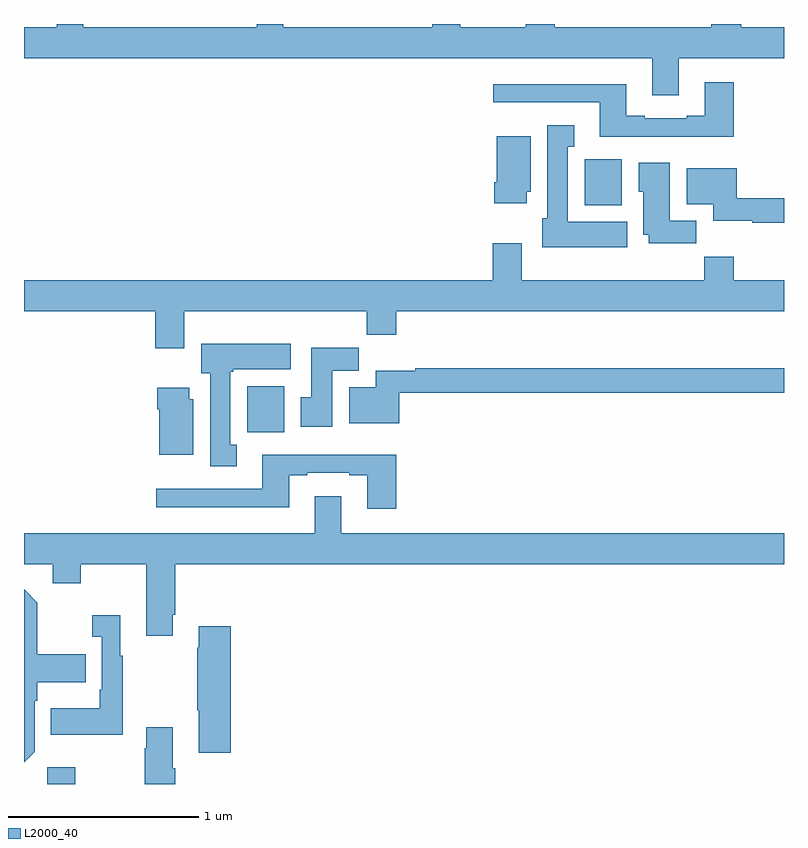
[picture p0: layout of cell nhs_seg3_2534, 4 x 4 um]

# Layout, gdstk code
import gdstk
lib = gdstk.Library(unit=1e-6, precision=1e-09)
def R(c, l, rs):  # rectangles x0, y0, x1, y1
    for r in rs: c.add(gdstk.rectangle(r[:2], r[2:], *l))
def P(c, l, *ps):  # polygons
    for p in ps: c.add(gdstk.Polygon(p, *l))
L2000_40 = (2000, 40)

nhs_seg3_2534 = lib.new_cell('nhs_seg3_2534')
R(nhs_seg3_2534, L2000_40, [(241.122,726.4,241.269,726.487), (242.174,728.252,242.371,728.494), (243.95,729.446,244.147,729.688)])
P(nhs_seg3_2534, L2000_40, [(244.447,730.22),(245,730.22),(245,730.384),(244.776,730.384),(244.776,730.4),(244.616,730.4),(244.616,730.384),(243.794,730.384),(243.794,730.4),(243.641,730.4),(243.641,730.384),(243.297,730.384),(243.297,730.4),(243.149,730.4),(243.149,730.384),(242.365,730.384),(242.365,730.4),(242.225,730.4),(242.225,730.384),(241.311,730.384),(241.311,730.4),(241.173,730.4),(241.173,730.384),(241,730.384),(241,730.22),(244.307,730.22),(244.307,730.026),(244.447,730.026)],
  [(244.736,730.093),(244.583,730.093),(244.583,729.916),(244.487,729.916),(244.487,729.903),(244.267,729.903),(244.267,729.916),(244.171,729.916),(244.171,730.084),(243.471,730.084),(243.471,729.987),(244.031,729.987),(244.031,729.806),(244.736,729.806)],
  [(244.174,729.358),(243.862,729.358),(243.862,729.755),(243.895,729.755),(243.895,729.868),(243.755,729.868),(243.755,729.378),(243.728,729.378),(243.728,729.224),(244.174,729.224)],
  [(243.646,729.516),(243.667,729.516),(243.667,729.808),(243.488,729.808),(243.488,729.568),(243.476,729.568),(243.476,729.456),(243.646,729.456)],
  [(244.538,729.364),(244.399,729.364),(244.399,729.67),(244.235,729.67),(244.235,729.516),(244.259,729.516),(244.259,729.29),(244.289,729.29),(244.289,729.246),(244.538,729.246)],
  [(245,729.482),(244.751,729.482),(244.751,729.64),(244.487,729.64),(244.487,729.452),(244.628,729.452),(244.628,729.365),(244.834,729.365),(244.834,729.354),(245,729.354)],
  [(241.843,728.888),(242.803,728.888),(242.803,728.764),(242.96,728.764),(242.96,728.888),(245,728.888),(245,729.052),(244.736,729.052),(244.736,729.176),(244.579,729.176),(244.579,729.052),(243.619,729.052),(243.619,729.247),(243.467,729.247),(243.467,729.052),(241,729.052),(241,728.888),(241.691,728.888),(241.691,728.694),(241.843,728.694)],
  [(242.119,728.186),(242.086,728.186),(242.086,728.569),(242.1,728.569),(242.1,728.582),(242.404,728.582),(242.404,728.716),(241.934,728.716),(241.934,728.562),(241.979,728.562),(241.979,728.073),(242.119,728.073)],
  [(242.623,728.576),(242.762,728.576),(242.762,728.695),(242.513,728.695),(242.513,728.436),(242.456,728.436),(242.456,728.28),(242.623,728.28)],
  [(242.975,728.458),(245,728.458),(245,728.587),(243.058,728.587),(243.058,728.576),(242.852,728.576),(242.852,728.488),(242.711,728.488),(242.711,728.3),(242.975,728.3)],
  [(241.891,728.424),(241.87,728.424),(241.87,728.485),(241.7,728.485),(241.7,728.372),(241.712,728.372),(241.712,728.132),(241.891,728.132)],
  [(242.96,728.134),(242.255,728.134),(242.255,727.953),(241.695,727.953),(241.695,727.856),(242.395,727.856),(242.395,728.025),(242.491,728.025),(242.491,728.037),(242.711,728.037),(242.711,728.025),(242.807,728.025),(242.807,727.848),(242.96,727.848)],
  [(241.783,727.291),(241.796,727.291),(241.796,727.556),(245,727.556),(245,727.72),(242.671,727.72),(242.671,727.915),(242.531,727.915),(242.531,727.72),(241,727.72),(241,727.556),(241.151,727.556),(241.151,727.457),(241.299,727.457),(241.299,727.556),(241.643,727.556),(241.643,727.179),(241.783,727.179)],
  [(241.056,726.57),(241.056,726.839),(241.069,726.839),(241.069,726.935),(241.325,726.935),(241.325,727.083),(241.069,727.083),(241.069,727.355),(241,727.424),(241,726.514)],
  [(241.519,727.075),(241.507,727.075),(241.507,727.288),(241.359,727.288),(241.359,727.175),(241.41,727.175),(241.41,726.895),(241.398,726.895),(241.398,726.799),(241.141,726.799),(241.141,726.659),(241.519,726.659)],
  [(242.087,727.231),(241.919,727.231),(241.919,727.118),(241.912,727.118),(241.912,726.787),(241.919,726.787),(241.919,726.564),(242.087,726.564)],
  [(241.796,726.484),(241.783,726.484),(241.783,726.7),(241.643,726.7),(241.643,726.587),(241.636,726.587),(241.636,726.4),(241.796,726.4)])

lib.write_gds('nhs_seg3_2534.gds')
